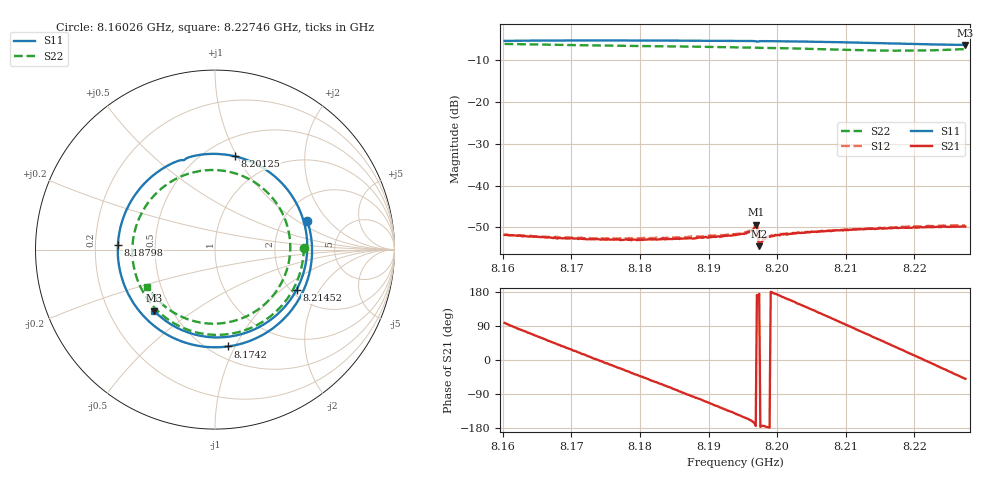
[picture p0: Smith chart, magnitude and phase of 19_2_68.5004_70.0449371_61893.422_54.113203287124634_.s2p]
#  HZ  S  RI  R  50.00
! Rohde & Schwarz Vector Network Analyzer
! Rohde-Schwarz,ZNB20-2Port,1311601062101988,3.16
! Created: UTC 3/20/2024, 5:04:36 PM
! freq[Hz]  re:S11  im:S11  re:S21  im:S21  re:S12  im:S12  re:S22  im:S22
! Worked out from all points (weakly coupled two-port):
!   401 points, 8.16026 GHz to 8.22746 GHz, reference 50 ohm
!   highest |S21| = -49.37 dB at 8.19688 GHz (marker M1); lowest = -54.5 dB at 8.19738 GHz (marker M2)
!   lowest |S11| = -6.4 dB at 8.22746 GHz (marker M3), VSWR 2.86, Z = 20.1 - j17.7 ohm
!   |S11| at or under -10 dB: nowhere
!   |S22| runs from -7.7 to -6.1 dB; largest |S21 - S12| = 0.00021
!   S11 on the Smith chart (normalised r, x): 8.16026 GHz: 2.72, +1.22; 8.1742 GHz: 0.61, -0.94; 8.18798 GHz: 0.30, +0.02; 8.20125 GHz: 0.68, +0.98; 8.21452 GHz: 2.14, -1.29; 8.22746 GHz: 0.40, -0.35
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8.160258e9  0.5144 0.1598  -0.000349 0.00254  -0.000312 0.00253  0.4947 0.0112
8.165634e9  0.5065 -0.1947  0.00127 0.00205  0.0013 0.00207  0.3921 -0.2877
8.171514e9  0.2476 -0.4847  0.00221 0.000629  0.00227 0.000687  0.107 -0.4656
8.174201e9  0.0737 -0.5395  0.00225 -9.96e-05  0.0023 -8.47e-05  -0.0466 -0.4718
8.178401e9  -0.2089 -0.5023  0.00195 -0.00116  0.00201 -0.00122  -0.2663 -0.3861
8.182769e9  -0.4418 -0.3159  0.00108 -0.00199  0.00109 -0.00209  -0.4199 -0.1985
8.187977e9  -0.5411 0.0259  -0.000347 -0.0023  -0.000416 -0.00242  -0.4511 0.0851
8.190833e9  -0.4941 0.2191  -0.00119 -0.00213  -0.00125 -0.00219  -0.3926 0.2318
8.193857e9  -0.3708 0.3906  -0.00198 -0.0016  -0.00208 -0.00157  -0.2789 0.3556
8.196881e9  -0.1858 0.4989  -0.00338 -0.000354  -0.00345 -0.000235  -0.1268 0.4287
8.197385e9  -0.1613 0.5075  -0.00187 0.00018  -0.00193 0.000257  -0.0994 0.4351
8.197721e9  -0.1375 0.5166  -0.0021 -0.000201  -0.00211 -0.000144  -0.0805 0.4385
8.198729e9  -0.0661 0.5303  -0.00241 -0.000113  -0.00246 5.72e-05  -0.0235 0.4434
8.201249e9  0.1112 0.5197  -0.00253 0.000792  -0.00248 0.000856  0.1178 0.4232
8.205113e9  0.3499 0.3926  -0.00191 0.00207  -0.00184 0.00214  0.3049 0.305
8.209984e9  0.5086 0.0915  -0.000182 0.00292  -0.00011 0.00298  0.4184 0.0438
8.21452e9  0.4544 -0.224  0.00167 0.00253  0.00177 0.00253  0.3482 -0.2224
8.216368e9  0.3767 -0.3319  0.00231 0.00205  0.00241 0.00203  0.2705 -0.3102
8.219224e9  0.2084 -0.4495  0.00297 0.000986  0.00312 0.000912  0.1082 -0.3968
8.221912e9  0.0192 -0.4893  0.00318 -0.000191  0.00327 -0.000351  -0.0689 -0.4085
8.224432e9  -0.1597 -0.4581  0.00295 -0.00136  0.00294 -0.00151  -0.229 -0.3518
8.227456e9  -0.3413 -0.3394  0.00209 -0.00246  0.00204 -0.00263  -0.3764 -0.2068
